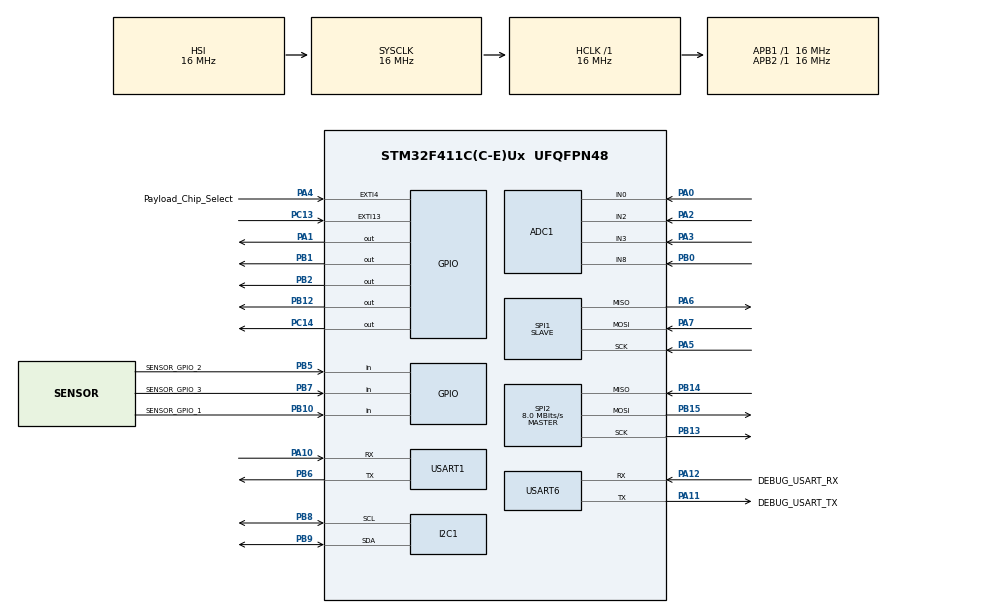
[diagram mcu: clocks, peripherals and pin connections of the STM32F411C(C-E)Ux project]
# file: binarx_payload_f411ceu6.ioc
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ADC1.Channel-0\#ChannelRegularConversion=ADC_CHANNEL_0
ADC1.Channel-1\#ChannelRegularConversion=ADC_CHANNEL_2
ADC1.Channel-2\#ChannelRegularConversion=ADC_CHANNEL_3
ADC1.Channel-3\#ChannelRegularConversion=ADC_CHANNEL_8
ADC1.ClockPrescaler=ADC_CLOCK_SYNC_PCLK_DIV8
ADC1.DMAContinuousRequests=DISABLE
ADC1.DiscontinuousConvMode=DISABLE
ADC1.NbrOfConversion=4
ADC1.NbrOfConversionFlag=1
ADC1.Rank-0\#ChannelRegularConversion=1
ADC1.Rank-1\#ChannelRegularConversion=2
ADC1.Rank-2\#ChannelRegularConversion=3
ADC1.Rank-3\#ChannelRegularConversion=4
ADC1.SamplingTime-0\#ChannelRegularConversion=ADC_SAMPLETIME_56CYCLES
ADC1.SamplingTime-1\#ChannelRegularConversion=ADC_SAMPLETIME_56CYCLES
ADC1.SamplingTime-2\#ChannelRegularConversion=ADC_SAMPLETIME_56CYCLES
ADC1.SamplingTime-3\#ChannelRegularConversion=ADC_SAMPLETIME_56CYCLES
ADC1.master=1
Mcu.Family=STM32F4
Mcu.Name=STM32F411C(C-E)Ux
Mcu.Package=UFQFPN48
NVIC.EXTI4_IRQn=true\:5\:0\:true\:false\:true\:true\:true\:true
NVIC.PriorityGroup=NVIC_PRIORITYGROUP_4
NVIC.SPI1_IRQn=true\:4\:0\:true\:false\:true\:true\:true\:true
PA0-WKUP.Signal=ADCx_IN0
PA1.Signal=GPIO_Output
PA10.Mode=Asynchronous
PA10.Signal=USART1_RX
PA11.GPIO_Label=DEBUG_USART_TX
PA11.Mode=Asynchronous
PA11.Signal=USART6_TX
PA12.GPIO_Label=DEBUG_USART_RX
PA12.Mode=Asynchronous
PA12.Signal=USART6_RX
PA13.Mode=Trace_Asynchronous_SW
PA13.Signal=SYS_JTMS-SWDIO
PA14.Mode=Trace_Asynchronous_SW
PA14.Signal=SYS_JTCK-SWCLK
PA2.Signal=ADCx_IN2
PA3.Signal=ADCx_IN3
PA4.GPIO_Label=Payload_Chip_Select
PA4.GPIO_ModeDefaultEXTI=GPIO_MODE_IT_FALLING
PA4.Signal=GPXTI4
PA5.Mode=Full_Duplex_Slave
PA5.Signal=SPI1_SCK
PA6.Mode=Full_Duplex_Slave
PA6.Signal=SPI1_MISO
PA7.Mode=Full_Duplex_Slave
PA7.Signal=SPI1_MOSI
PB0.Signal=ADCx_IN8
PB1.Signal=GPIO_Output
PB10.GPIO_Label=SENSOR_GPIO_1
PB10.Signal=GPIO_Input
PB12.Signal=GPIO_Output
PB13.Mode=Full_Duplex_Master
PB13.Signal=SPI2_SCK
PB14.Mode=Full_Duplex_Master
PB14.Signal=SPI2_MISO
PB15.Mode=Full_Duplex_Master
PB15.Signal=SPI2_MOSI
PB2.Signal=GPIO_Output
PB3.Mode=Trace_Asynchronous_SW
PB3.Signal=SYS_JTDO-SWO
PB5.GPIO_Label=SENSOR_GPIO_2
PB5.Signal=GPIO_Input
PB6.Mode=Asynchronous
PB6.Signal=USART1_TX
PB7.GPIO_Label=SENSOR_GPIO_3
PB7.Signal=GPIO_Input
PB8.Mode=I2C
PB8.Signal=I2C1_SCL
PB9.Mode=I2C
PB9.Signal=I2C1_SDA
PC13-ANTI_TAMP.Signal=GPXTI13
PC14-OSC32_IN.Signal=GPIO_Output
ProjectManager.HeapSize=0x200
ProjectManager.StackSize=0x400
ProjectManager.TargetToolchain=STM32CubeIDE
RCC.AHBFreq_Value=16000000
RCC.APB1Freq_Value=16000000
RCC.APB2Freq_Value=16000000
RCC.CortexFreq_Value=16000000
RCC.HSE_VALUE=25000000
RCC.HSI_VALUE=16000000
RCC.LSE_VALUE=32768
RCC.SYSCLKFreq_VALUE=16000000
RCC.VCOOutputFreq_Value=192000000
SH.ADCx_IN0.0=ADC1_IN0,IN0
SH.ADCx_IN2.0=ADC1_IN2,IN2
SH.ADCx_IN3.0=ADC1_IN3,IN3
SH.ADCx_IN8.0=ADC1_IN8,IN8
SPI1.Direction=SPI_DIRECTION_2LINES
SPI1.Mode=SPI_MODE_SLAVE
SPI1.VirtualType=VM_SLAVE
SPI2.CalculateBaudRate=8.0 MBits/s
SPI2.Direction=SPI_DIRECTION_2LINES
SPI2.Mode=SPI_MODE_MASTER
SPI2.VirtualType=VM_MASTER
USART1.VirtualMode=VM_ASYNC
USART6.VirtualMode=VM_ASYNC
board=custom

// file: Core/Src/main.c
/* USER CODE BEGIN Header */
/**
  ******************************************************************************
  * @file           : main.c
  * @brief          : Main program body
  ******************************************************************************
  * @attention
  *
  * Copyright (c) 2023 STMicroelectronics.
  * All rights reserved.
  *
  * This software is licensed under terms that can be found in the LICENSE file
  * in the root directory of this software component.
  * If no LICENSE file comes with this software, it is provided AS-IS.
  *
  ******************************************************************************
  */
/* USER CODE END Header */
#include "main.h"

#include "../../../../../../STM32CubeIDE/BinarX_Payload_L433/peripheral_library/peripheral.h"

ADC_HandleTypeDef hadc1;

I2C_HandleTypeDef hi2c1;

SPI_HandleTypeDef hspi1;
SPI_HandleTypeDef hspi2;

UART_HandleTypeDef huart1;
UART_HandleTypeDef huart6;

/* USER CODE BEGIN PV */
int kDelayTime = 100;  // milliseconds (1/time (s) = frequency (Hz))
// STATE MACHINE INITIAL CONDITIONS
bool kCapturingData = true; // Capture payload data and process it
bool kTransmitData = false; // Transmit payload (peripheral) data to the Emulator (controller)
bool kPayloadReadyToTransmit = false; // Wait for the Emulator (controller) to receive the data
// DATA ARRAY BUILDER
// There is a maximum data array size determined by the F4's RAM
uint8_t data[50000]; // Data array (unsigned 8-bit integers * 50,000 = 400,000 bits)

//ADC
uint16_t adc_readings[4];
static uint8_t csv_line[51] = ""; // Static 50 character buffer for serial communication
uint16_t data_length = 0;

/* DEBUG VARIABLES */

/* END OF DEBUG VARIABLES */

/* USER CODE END PV */

void SystemClock_Config(void);
static void MX_GPIO_Init(void);
static void MX_SPI1_Init(void);
static void MX_USART6_UART_Init(void);
static void MX_ADC1_Init(void);
static void MX_I2C1_Init(void);
static void MX_SPI2_Init(void);
static void MX_USART1_UART_Init(void);

/* USER CODE BEGIN 0 */
// INTERRUPT FUNCTIONS
// SPI Chip Select (CS) Interrupt
void HAL_GPIO_EXTI_Callback(uint16_t GPIO_Pin) {
  switch (GPIO_Pin) {
    case Payload_Chip_Select_Pin:
    	ChipSelectInterrupt(&hspi1, kPayloadReadyToTransmit);
    	break;
    default:
      break;
  }
}
// SPI Communication Interrupt
void HAL_SPI_TxCpltCallback(SPI_HandleTypeDef *hspi) {
  TransmitCallBackInterrupt();
}
/* USER CODE END 0 */

int main(void)
{

  /* USER CODE BEGIN 1 */
  // ensure all data memory is empty
  memset(data, '\0', sizeof(data));
  //Setup data array with title and headings
  strcat((char*)data, "Test Data\r\n");
  strcat((char*)data, "ADC1_in0,ADC1_in2,ADC1_in3,ADC1_in8,GPIO1,GPIO2,GPIO3,Time\r\n");
  /* USER CODE END 1 */

  /* MCU Configuration--------------------------------------------------------*/

  /* Reset of all peripherals, Initializes the Flash interface and the Systick. */
  HAL_Init();

  /* Configure the system clock */
  SystemClock_Config();

  /* Initialize all configured peripherals */
  MX_GPIO_Init();
  MX_SPI1_Init();
  MX_USART6_UART_Init();
  MX_ADC1_Init();
  MX_I2C1_Init();
  MX_SPI2_Init();
  MX_USART1_UART_Init();

  /* Infinite loop */
  /* USER CODE BEGIN WHILE */
  while (1)
  {
    // State machine
    if(kCapturingData){
      // Build test data array
//      for(int i = 0; i < 10; i++){
//    	  HAL_ADC_Start(&hadc1);
//    	  HAL_ADC_PollForConversion(&hadc1, 1);
//    	  adc_readings[0] = HAL_ADC_GetValue(&hadc1);
//    	  HAL_ADC_PollForConversion(&hadc1, 1);
//    	  adc_readings[1] = HAL_ADC_GetValue(&hadc1);
//    	  HAL_ADC_PollForConversion(&hadc1, 1);
//    	  adc_readings[2] = HAL_ADC_GetValue(&hadc1);
//    	  HAL_ADC_PollForConversion(&hadc1, 1);
//    	  adc_readings[3] = HAL_ADC_GetValue(&hadc1);
////    	for(int j = 0; j < 4; j++){
//    		ADC_CH_Cfg.Channel = ADC_Channels[j];        // Select The ADC Channel [i]
//    		HAL_ADC_ConfigChannel(&hadc1, &ADC_CH_Cfg); // Configure The Selected ADC Channel
//    		HAL_ADC_Start(&hadc1);                         // Start ADC Conversion @ Selected Channel
//    		HAL_ADC_PollForConversion(&hadc1, 1);
//    		adc_readings[j] = HAL_ADC_GetValue(&hadc1);         // Read The ADC Conversion Result
//    		HAL_Delay(50);
//    	}

//    	HAL_ADC_Stop(&hadc1);
        // sprintf <- writes a string to a string (csv_line <- "%d,%d,%lu")
        sprintf((char*)csv_line, "%d,%d,%d,%d,%d,%d,%d,%lu\r\n",
        		adc_readings[0], adc_readings[1], adc_readings[2], adc_readings[3],
				HAL_GPIO_ReadPin(GPIOB, SENSOR_GPIO_1_Pin), HAL_GPIO_ReadPin(GPIOB, SENSOR_GPIO_2_Pin),
				HAL_GPIO_ReadPin(GPIOB, SENSOR_GPIO_3_Pin), HAL_GetTick());
//    	  sprintf((char*)csv_line, "%d,%d,%d,%d,%lu\r\n",
//                		adc_readings[i],
//        				HAL_GPIO_ReadPin(GPIOB, SENSOR_GPIO_1_Pin), HAL_GPIO_ReadPin(GPIOB, SENSOR_GPIO_2_Pin),
//        				HAL_GPIO_ReadPin(GPIOB, SENSOR_GPIO_3_Pin), HAL_GetTick());
        // strcat appends a string to the end of the line
    	  strcat((char*)data, (char*)csv_line);
//      }
      // Change state to kTransmitData
      kTransmitData = true;
      kCapturingData = false;

    }
	else if (kTransmitData){
      // Count the amount of bytes in the data array
      for(int i = 0; i < (sizeof(data)/sizeof(data[0])); i++){
        if(data[i] != '\0'){
          data_length++;
        }
      }
      // Prepare metadata and data array
      Transmit(&hspi1, data, data_length, &huart6);
      // Change state to kPayloadReadyToTransmit
      kPayloadReadyToTransmit = true;
      kTransmitData = false;
      strcpy((char*)csv_line, "");
      /* DEBUG SECTION */

      /* END OF DEBUG SECTION */
    }
    else if (kPayloadReadyToTransmit){
      // Wait for emulator to receive data
    	HAL_ADC_Start(&hadc1);                         // Start ADC Conversion @ Selected Channel
    	for(int j = 0; j < 4; j++){
			HAL_ADC_PollForConversion(&hadc1, 1);
			adc_readings[j] = HAL_ADC_GetValue(&hadc1);         // Read The ADC Conversion Result
		}
		HAL_ADC_Stop(&hadc1);
		snprintf((char*)csv_line, 51, "%d,%d,%d,%d\r\n", adc_readings[0], adc_readings[1], adc_readings[2], adc_readings[3]);
		HAL_UART_Transmit(&huart6, csv_line, sizeof(csv_line), 1000);
		HAL_Delay(1000);

    }
    /* USER CODE END WHILE */

  }
}

void SystemClock_Config(void)
{
  RCC_OscInitTypeDef RCC_OscInitStruct = {0};
  RCC_ClkInitTypeDef RCC_ClkInitStruct = {0};

  /** Configure the main internal regulator output voltage
  */
  __HAL_RCC_PWR_CLK_ENABLE();
  __HAL_PWR_VOLTAGESCALING_CONFIG(PWR_REGULATOR_VOLTAGE_SCALE1);

  /** Initializes the RCC Oscillators according to the specified parameters
  * in the RCC_OscInitTypeDef structure.
  */
  RCC_OscInitStruct.OscillatorType = RCC_OSCILLATORTYPE_HSI;
  RCC_OscInitStruct.HSIState = RCC_HSI_ON;
  RCC_OscInitStruct.HSICalibrationValue = RCC_HSICALIBRATION_DEFAULT;
  RCC_OscInitStruct.PLL.PLLState = RCC_PLL_NONE;
  if (HAL_RCC_OscConfig(&RCC_OscInitStruct) != HAL_OK)
  {
    Error_Handler();
  }

  /** Initializes the CPU, AHB and APB buses clocks
  */
  RCC_ClkInitStruct.ClockType = RCC_CLOCKTYPE_HCLK|RCC_CLOCKTYPE_SYSCLK
                              |RCC_CLOCKTYPE_PCLK1|RCC_CLOCKTYPE_PCLK2;
  RCC_ClkInitStruct.SYSCLKSource = RCC_SYSCLKSOURCE_HSI;
  RCC_ClkInitStruct.AHBCLKDivider = RCC_SYSCLK_DIV1;
  RCC_ClkInitStruct.APB1CLKDivider = RCC_HCLK_DIV1;
  RCC_ClkInitStruct.APB2CLKDivider = RCC_HCLK_DIV1;

  if (HAL_RCC_ClockConfig(&RCC_ClkInitStruct, FLASH_LATENCY_0) != HAL_OK)
  {
    Error_Handler();
  }
}

static void MX_ADC1_Init(void)
{

  ADC_ChannelConfTypeDef sConfig = {0};

  /** Configure the global features of the ADC (Clock, Resolution, Data Alignment and number of conversion)
  */
  hadc1.Instance = ADC1;
  hadc1.Init.ClockPrescaler = ADC_CLOCK_SYNC_PCLK_DIV8;
  hadc1.Init.Resolution = ADC_RESOLUTION_12B;
  hadc1.Init.ScanConvMode = ENABLE;
  hadc1.Init.ContinuousConvMode = DISABLE;
  hadc1.Init.DiscontinuousConvMode = DISABLE;
  hadc1.Init.ExternalTrigConvEdge = ADC_EXTERNALTRIGCONVEDGE_NONE;
  hadc1.Init.ExternalTrigConv = ADC_SOFTWARE_START;
  hadc1.Init.DataAlign = ADC_DATAALIGN_RIGHT;
  hadc1.Init.NbrOfConversion = 4;
  hadc1.Init.DMAContinuousRequests = DISABLE;
  hadc1.Init.EOCSelection = ADC_EOC_SINGLE_CONV;
  if (HAL_ADC_Init(&hadc1) != HAL_OK)
  {
    Error_Handler();
  }

  /** Configure for the selected ADC regular channel its corresponding rank in the sequencer and its sample time.
  */
  sConfig.Channel = ADC_CHANNEL_0;
  sConfig.Rank = 1;
  sConfig.SamplingTime = ADC_SAMPLETIME_56CYCLES;
  if (HAL_ADC_ConfigChannel(&hadc1, &sConfig) != HAL_OK)
  {
    Error_Handler();
  }

  /** Configure for the selected ADC regular channel its corresponding rank in the sequencer and its sample time.
  */
  sConfig.Channel = ADC_CHANNEL_2;
  sConfig.Rank = 2;
  if (HAL_ADC_ConfigChannel(&hadc1, &sConfig) != HAL_OK)
  {
    Error_Handler();
  }

  /** Configure for the selected ADC regular channel its corresponding rank in the sequencer and its sample time.
  */
  sConfig.Channel = ADC_CHANNEL_3;
  sConfig.Rank = 3;
  if (HAL_ADC_ConfigChannel(&hadc1, &sConfig) != HAL_OK)
  {
    Error_Handler();
  }

  /** Configure for the selected ADC regular channel its corresponding rank in the sequencer and its sample time.
  */
  sConfig.Channel = ADC_CHANNEL_8;
  sConfig.Rank = 4;
  if (HAL_ADC_ConfigChannel(&hadc1, &sConfig) != HAL_OK)
  {
    Error_Handler();
  }

}

static void MX_I2C1_Init(void)
{

  hi2c1.Instance = I2C1;
  hi2c1.Init.ClockSpeed = 100000;
  hi2c1.Init.DutyCycle = I2C_DUTYCYCLE_2;
  hi2c1.Init.OwnAddress1 = 0;
  hi2c1.Init.AddressingMode = I2C_ADDRESSINGMODE_7BIT;
  hi2c1.Init.DualAddressMode = I2C_DUALADDRESS_DISABLE;
  hi2c1.Init.OwnAddress2 = 0;
  hi2c1.Init.GeneralCallMode = I2C_GENERALCALL_DISABLE;
  hi2c1.Init.NoStretchMode = I2C_NOSTRETCH_DISABLE;
  if (HAL_I2C_Init(&hi2c1) != HAL_OK)
  {
    Error_Handler();
  }

}

static void MX_SPI1_Init(void)
{

  /* SPI1 parameter configuration*/
  hspi1.Instance = SPI1;
  hspi1.Init.Mode = SPI_MODE_SLAVE;
  hspi1.Init.Direction = SPI_DIRECTION_2LINES;
  hspi1.Init.DataSize = SPI_DATASIZE_8BIT;
  hspi1.Init.CLKPolarity = SPI_POLARITY_LOW;
  hspi1.Init.CLKPhase = SPI_PHASE_1EDGE;
  hspi1.Init.NSS = SPI_NSS_SOFT;
  hspi1.Init.FirstBit = SPI_FIRSTBIT_MSB;
  hspi1.Init.TIMode = SPI_TIMODE_DISABLE;
  hspi1.Init.CRCCalculation = SPI_CRCCALCULATION_DISABLE;
  hspi1.Init.CRCPolynomial = 10;
  if (HAL_SPI_Init(&hspi1) != HAL_OK)
  {
    Error_Handler();
  }

}

static void MX_SPI2_Init(void)
{

  /* SPI2 parameter configuration*/
  hspi2.Instance = SPI2;
  hspi2.Init.Mode = SPI_MODE_MASTER;
  hspi2.Init.Direction = SPI_DIRECTION_2LINES;
  hspi2.Init.DataSize = SPI_DATASIZE_8BIT;
  hspi2.Init.CLKPolarity = SPI_POLARITY_LOW;
  hspi2.Init.CLKPhase = SPI_PHASE_1EDGE;
  hspi2.Init.NSS = SPI_NSS_SOFT;
  hspi2.Init.BaudRatePrescaler = SPI_BAUDRATEPRESCALER_2;
  hspi2.Init.FirstBit = SPI_FIRSTBIT_MSB;
  hspi2.Init.TIMode = SPI_TIMODE_DISABLE;
  hspi2.Init.CRCCalculation = SPI_CRCCALCULATION_DISABLE;
  hspi2.Init.CRCPolynomial = 10;
  if (HAL_SPI_Init(&hspi2) != HAL_OK)
  {
    Error_Handler();
  }

}

static void MX_USART1_UART_Init(void)
{

  huart1.Instance = USART1;
  huart1.Init.BaudRate = 115200;
  huart1.Init.WordLength = UART_WORDLENGTH_8B;
  huart1.Init.StopBits = UART_STOPBITS_1;
  huart1.Init.Parity = UART_PARITY_NONE;
  huart1.Init.Mode = UART_MODE_TX_RX;
  huart1.Init.HwFlowCtl = UART_HWCONTROL_NONE;
  huart1.Init.OverSampling = UART_OVERSAMPLING_16;
  if (HAL_UART_Init(&huart1) != HAL_OK)
  {
    Error_Handler();
  }

}

static void MX_USART6_UART_Init(void)
{

  huart6.Instance = USART6;
  huart6.Init.BaudRate = 115200;
  huart6.Init.WordLength = UART_WORDLENGTH_8B;
  huart6.Init.StopBits = UART_STOPBITS_1;
  huart6.Init.Parity = UART_PARITY_NONE;
  huart6.Init.Mode = UART_MODE_TX_RX;
  huart6.Init.HwFlowCtl = UART_HWCONTROL_NONE;
  huart6.Init.OverSampling = UART_OVERSAMPLING_16;
  if (HAL_UART_Init(&huart6) != HAL_OK)
  {
    Error_Handler();
  }

}

static void MX_GPIO_Init(void)
{
  GPIO_InitTypeDef GPIO_InitStruct = {0};

  /* GPIO Ports Clock Enable */
  __HAL_RCC_GPIOC_CLK_ENABLE();
  __HAL_RCC_GPIOA_CLK_ENABLE();
  __HAL_RCC_GPIOB_CLK_ENABLE();

  /*Configure GPIO pin Output Level */
  HAL_GPIO_WritePin(GPIOC, GPIO_PIN_14, GPIO_PIN_RESET);

  /*Configure GPIO pin Output Level */
  HAL_GPIO_WritePin(GPIOA, GPIO_PIN_1, GPIO_PIN_RESET);

  /*Configure GPIO pin Output Level */
  HAL_GPIO_WritePin(GPIOB, GPIO_PIN_1|GPIO_PIN_2|GPIO_PIN_12, GPIO_PIN_RESET);

  /*Configure GPIO pin : PC13 */
  GPIO_InitStruct.Pin = GPIO_PIN_13;
  GPIO_InitStruct.Mode = GPIO_MODE_IT_RISING;
  GPIO_InitStruct.Pull = GPIO_NOPULL;
  HAL_GPIO_Init(GPIOC, &GPIO_InitStruct);

  /*Configure GPIO pin : PC14 */
  GPIO_InitStruct.Pin = GPIO_PIN_14;
  GPIO_InitStruct.Mode = GPIO_MODE_OUTPUT_PP;
  GPIO_InitStruct.Pull = GPIO_NOPULL;
  GPIO_InitStruct.Speed = GPIO_SPEED_FREQ_LOW;
  HAL_GPIO_Init(GPIOC, &GPIO_InitStruct);

  /*Configure GPIO pin : PA1 */
  GPIO_InitStruct.Pin = GPIO_PIN_1;
  GPIO_InitStruct.Mode = GPIO_MODE_OUTPUT_PP;
  GPIO_InitStruct.Pull = GPIO_NOPULL;
  GPIO_InitStruct.Speed = GPIO_SPEED_FREQ_LOW;
  HAL_GPIO_Init(GPIOA, &GPIO_InitStruct);

  /*Configure GPIO pin : Payload_Chip_Select_Pin */
  GPIO_InitStruct.Pin = Payload_Chip_Select_Pin;
  GPIO_InitStruct.Mode = GPIO_MODE_IT_FALLING;
  GPIO_InitStruct.Pull = GPIO_NOPULL;
  HAL_GPIO_Init(Payload_Chip_Select_GPIO_Port, &GPIO_InitStruct);

  /*Configure GPIO pins : PB1 PB2 PB12 */
  GPIO_InitStruct.Pin = GPIO_PIN_1|GPIO_PIN_2|GPIO_PIN_12;
  GPIO_InitStruct.Mode = GPIO_MODE_OUTPUT_PP;
  GPIO_InitStruct.Pull = GPIO_NOPULL;
  GPIO_InitStruct.Speed = GPIO_SPEED_FREQ_LOW;
  HAL_GPIO_Init(GPIOB, &GPIO_InitStruct);

  /*Configure GPIO pins : SENSOR_GPIO_1_Pin SENSOR_GPIO_2_Pin SENSOR_GPIO_3_Pin */
  GPIO_InitStruct.Pin = SENSOR_GPIO_1_Pin|SENSOR_GPIO_2_Pin|SENSOR_GPIO_3_Pin;
  GPIO_InitStruct.Mode = GPIO_MODE_INPUT;
  GPIO_InitStruct.Pull = GPIO_NOPULL;
  HAL_GPIO_Init(GPIOB, &GPIO_InitStruct);

  /* EXTI interrupt init*/
  HAL_NVIC_SetPriority(EXTI4_IRQn, 5, 0);
  HAL_NVIC_EnableIRQ(EXTI4_IRQn);

}

void Error_Handler(void)
{
  __disable_irq();
  while (1)
  {
  }
}
